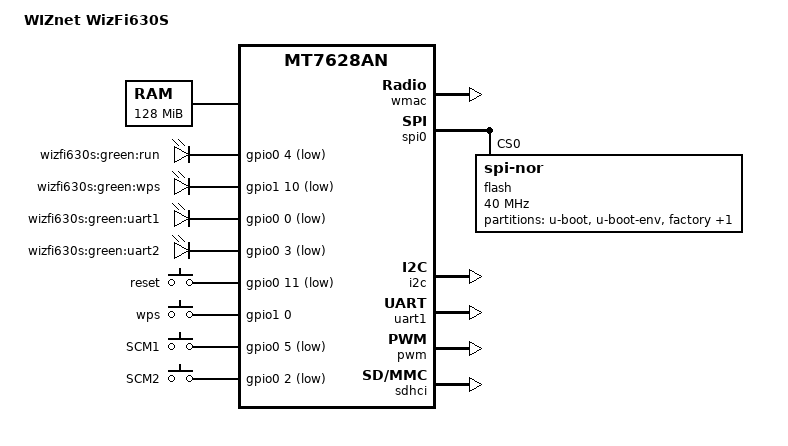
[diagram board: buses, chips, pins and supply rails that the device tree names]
//SPDX-License-Identifier: GPL-2.0-or-later OR MIT
/dts-v1/;

#include "mt7628an.dtsi"

#include <dt-bindings/gpio/gpio.h>
#include <dt-bindings/input/input.h>

/ {
	compatible = "wiznet,wizfi630s", "mediatek,mt7628an-soc";
	model = "WIZnet WizFi630S";

	chosen {
		bootargs = "console=ttyS1,115200";
	};

	memory@0 {
		device_type = "memory";
		reg = <0x0 0x8000000>;
	};

	aliases {
		led-boot = &led_run;
		led-failsafe = &led_run;
		led-running = &led_run;
		led-upgrade = &led_run;
		serial0 = &uart1;
		serial1 = &uartlite;
	};

	leds {
		compatible = "gpio-leds";

		led_run: run {
			label = "wizfi630s:green:run";
			gpios = <&gpio0 4 GPIO_ACTIVE_LOW>;
		};

		ledwps {
			label = "wizfi630s:green:wps";
			gpios = <&gpio1 10 GPIO_ACTIVE_LOW>;
		};

		leduart1 {
			label = "wizfi630s:green:uart1";
			gpios = <&gpio0 0 GPIO_ACTIVE_LOW>;
		};

		leduart2 {
			label = "wizfi630s:green:uart2";
			gpios = <&gpio0 3 GPIO_ACTIVE_LOW>;
		};
	};

	keys {
		compatible = "gpio-keys-polled";
		#address-cells = <1>;
		#size-cells = <0>;
		poll-interval = <20>;

		reset {
			label = "reset";
			gpios = <&gpio0 11 GPIO_ACTIVE_LOW>;
			linux,code = <KEY_RESTART>;
		};

		wps {
			label = "wps";
			gpios = <&gpio1 0 GPIO_ACTIVE_HIGH>;
			linux,code = <KEY_WPS_BUTTON>;
		};

		scm1 {
			label = "SCM1";
			gpios = <&gpio0 5 GPIO_ACTIVE_LOW>;
			linux,code = <BTN_1>;
		};

		scm2 {
			label = "SCM2";
			gpios = <&gpio0 2 GPIO_ACTIVE_LOW>;
			linux,code = <BTN_2>;
		};

	};
};

&pinctrl {
	state_default: pinctrl0 {
		gpio {
			ralink,group = "gpio";
			ralink,function = "gpio";
		};

		i2s {
			ralink,group = "i2s";
			ralink,function = "gpio";
		};

		wdt {
			ralink,group = "wdt";
			ralink,function = "gpio";
		};


		i2c {
			ralink,group = "i2c";
			ralink,function = "gpio";
		};

		refclk {
			ralink,group = "refclk";
			ralink,function = "gpio";
		};
	};
};

&wmac {
	status = "okay";
};

&spi0 {
	status = "okay";

	pinctrl-names = "default";
	pinctrl-0 = <&spi_pins>, <&spi_cs1_pins>;

	flash@0 {
		compatible = "jedec,spi-nor";
		reg = <0>;
		spi-max-frequency = <40000000>;
		m25p,chunked-io = <31>;

		partitions {
			compatible = "fixed-partitions";
			#address-cells = <1>;
			#size-cells = <1>;

			partition@0 {
				label = "u-boot";
				reg = <0x0 0x30000>;
				read-only;
			};

			partition@30000 {
				label = "u-boot-env";
				reg = <0x30000 0x10000>;
				read-only;
			};

			factory: partition@40000 {
				label = "factory";
				reg = <0x40000 0x10000>;
				read-only;
			};

			partition@50000 {
				compatible = "denx,uimage";
				label = "firmware";
				reg = <0x50000 0x1fb0000>;
			};
		};
	};
};

&i2c {
	status = "okay";
};

&uart1 {
	status = "okay";
};

&pwm {
	status = "okay";
};

&ethernet {
	mtd-mac-address = <&factory 0x28>;
};

&esw {
	mediatek,portmap = <0x3e>;
};

&sdhci {
	status = "okay";
	mediatek,cd-high;
};

&wmac {
	status = "okay";
};
